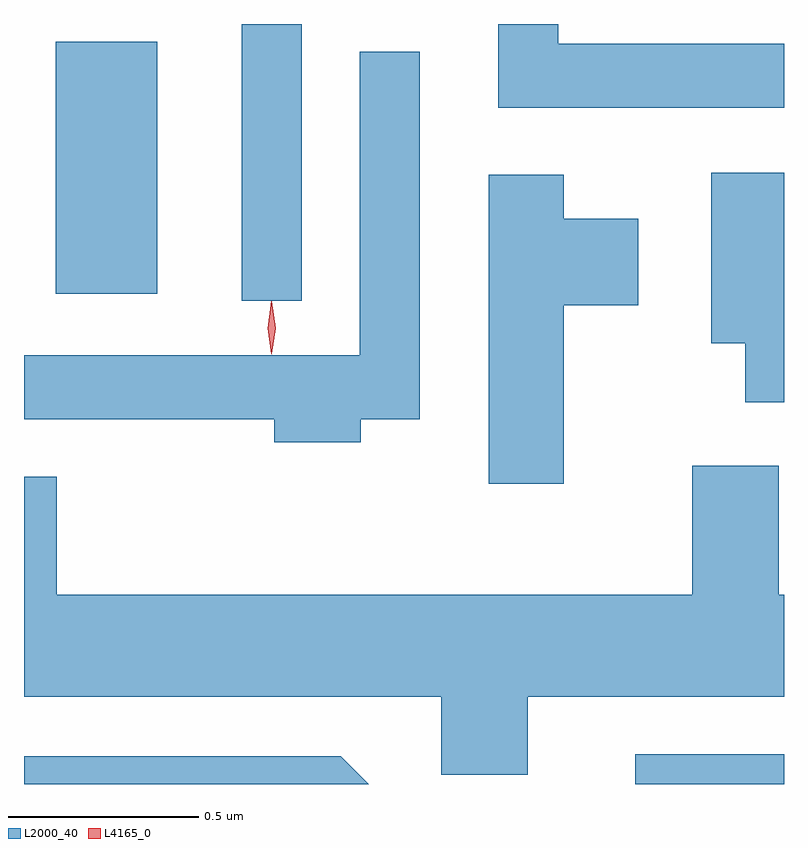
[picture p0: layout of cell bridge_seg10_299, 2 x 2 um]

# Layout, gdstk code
import gdstk
lib = gdstk.Library(unit=1e-6, precision=1e-09)
def R(c, l, rs):  # rectangles x0, y0, x1, y1
    for r in rs: c.add(gdstk.rectangle(r[:2], r[2:], *l))
def P(c, l, *ps):  # polygons
    for p in ps: c.add(gdstk.Polygon(p, *l))
L2000_40 = (2000, 40)
L4165_0 = (4165, 0)

bridge_seg10_299 = lib.new_cell('bridge_seg10_299')
R(bridge_seg10_299, L2000_40, [(1428.911,2209.146,1429.303,2209.224), (1427.876,2210.418,1428.034,2211.146), (1427.386,2210.436,1427.654,2211.099)])
P(bridge_seg10_299, L2000_40, [(1429.303,2211.094),(1428.709,2211.094),(1428.709,2211.146),(1428.551,2211.146),(1428.551,2210.926),(1429.303,2210.926)],
  [(1428.189,2210.106),(1428.344,2210.106),(1428.344,2211.073),(1428.186,2211.073),(1428.186,2210.274),(1427.303,2210.274),(1427.303,2210.106),(1427.961,2210.106),(1427.961,2210.046),(1428.189,2210.046)],
  [(1429.303,2210.754),(1429.111,2210.754),(1429.111,2210.306),(1429.201,2210.306),(1429.201,2210.151),(1429.303,2210.151)],
  [(1428.724,2210.406),(1428.919,2210.406),(1428.919,2210.634),(1428.724,2210.634),(1428.724,2210.749),(1428.526,2210.749),(1428.526,2209.936),(1428.724,2209.936)],
  [(1428.629,2209.376),(1429.303,2209.376),(1429.303,2209.644),(1429.289,2209.644),(1429.289,2209.984),(1429.061,2209.984),(1429.061,2209.644),(1427.389,2209.644),(1427.389,2209.954),(1427.303,2209.954),(1427.303,2209.376),(1428.401,2209.376),(1428.401,2209.171),(1428.629,2209.171)],
  [(1428.137,2209.219),(1427.303,2209.219),(1427.303,2209.146),(1428.21,2209.146)])
P(bridge_seg10_299, L4165_0, [(1427.955,2210.277),(1427.954,2210.278),(1427.945,2210.346),(1427.954,2210.416),(1427.955,2210.416),(1427.955,2210.416),(1427.965,2210.346),(1427.955,2210.278)])

lib.write_gds('bridge_seg10_299.gds')
